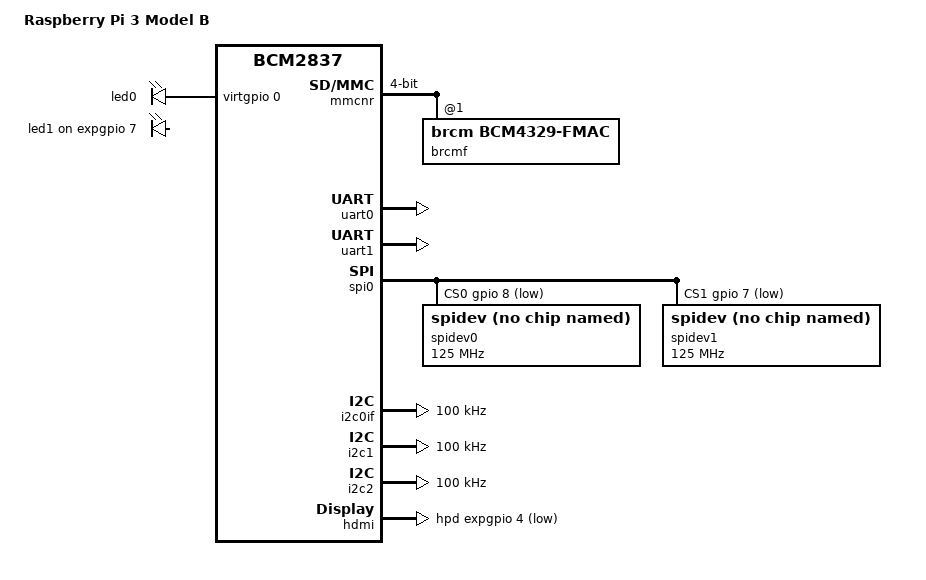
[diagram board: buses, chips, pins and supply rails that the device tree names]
/dts-v1/;

/*
 * Top-level DTS for Raspberry Pi 3 Model B.
 *
 * Read this file as:
 * 1. "bcm2710.dtsi" provides the SoC-level blocks for BCM2710/BCM2837.
 * 2. "bcm2709-rpi.dtsi" adds Raspberry Pi platform glue shared by this family.
 * 3. The remaining includes add board-specific peripherals that Raspberry Pi
 *    splits into reusable fragments, such as Ethernet over USB, CSI lane
 *    wiring, the I2C0 mux setup, and Bluetooth.
 *
 * For a custom board, this is the file you normally copy and rename first,
 * because it is the final board description that ties the shared pieces
 * together. The included .dtsi files are usually kept as reference, then you
 * either reuse them unchanged or inline only the parts that differ on your PCB.
 */
#include "bcm2710.dtsi"
#include "bcm2709-rpi.dtsi"
#include "bcm283x-rpi-smsc9514.dtsi"
#include "bcm283x-rpi-csi1-2lane.dtsi"
#include "bcm283x-rpi-i2c0mux_0_44.dtsi"
#include "bcm271x-rpi-bt.dtsi"

/ {
	/* Match strings used by the kernel driver model and userspace. */
	compatible = "raspberrypi,3-model-b", "brcm,bcm2837";
	model = "Raspberry Pi 3 Model B";

	chosen {
		/*
		 * Kernel command line defaults injected by the board DTS.
		 * On a custom board, keep this section minimal and move policy-heavy
		 * bootargs to the bootloader or Yocto config where possible.
		 */
		bootargs = "coherent_pool=1M 8250.nr_uarts=1 snd_bcm2835.enable_compat_alsa=0 snd_bcm2835.enable_hdmi=1";
	};

	aliases {
		/*
		 * Stable logical names used by Linux and userspace.
		 * Changing these changes which UART appears as serial0/serial1.
		 */
		serial0 = &uart1;
		serial1 = &uart0;
		mmc1 = &mmcnr;
	};
};

&gpio {
	/*
	 * Taken from rpi_SCH_3b_1p2_reduced.pdf and
	 * the official GPU firmware DT blob.
	 *
	 * Legend:
	 * "NC" = not connected (no rail from the SoC)
	 * "FOO" = GPIO line named "FOO" on the schematic
	 * "FOO_N" = GPIO line named "FOO" on schematic, active low
	 */
	gpio-line-names = "ID_SDA",
			  "ID_SCL",
			  "SDA1",
			  "SCL1",
			  "GPIO_GCLK",
			  "GPIO5",
			  "GPIO6",
			  "SPI_CE1_N",
			  "SPI_CE0_N",
			  "SPI_MISO",
			  "SPI_MOSI",
			  "SPI_SCLK",
			  "GPIO12",
			  "GPIO13",
			  /* Serial port */
			  "TXD1",
			  "RXD1",
			  "GPIO16",
			  "GPIO17",
			  "GPIO18",
			  "GPIO19",
			  "GPIO20",
			  "GPIO21",
			  "GPIO22",
			  "GPIO23",
			  "GPIO24",
			  "GPIO25",
			  "GPIO26",
			  "GPIO27",
			  "NC", /* GPIO 28 */
			  "LAN_RUN_BOOT",
			  /* Used by BT module */
			  "CTS0",
			  "RTS0",
			  "TXD0",
			  "RXD0",
			  /* Used by Wifi */
			  "SD1_CLK",
			  "SD1_CMD",
			  "SD1_DATA0",
			  "SD1_DATA1",
			  "SD1_DATA2",
			  "SD1_DATA3",
			  "PWM0_OUT",
			  "PWM1_OUT",
			  "ETH_CLK",
			  "WIFI_CLK",
			  "SDA0",
			  "SCL0",
			  "SMPS_SCL",
			  "SMPS_SDA",
			  /* Used by SD Card */
			  "SD_CLK_R",
			  "SD_CMD_R",
			  "SD_DATA0_R",
			  "SD_DATA1_R",
			  "SD_DATA2_R",
			  "SD_DATA3_R";

	/* Header SPI0 pins: GPIO9/10/11 => MISO/MOSI/SCLK. */
	spi0_pins: spi0_pins {
		brcm,pins = <9 10 11>;
		brcm,function = <4>; /* alt0 */
	};

	/* Header chip-select pins for SPI0 CE0/CE1. */
	spi0_cs_pins: spi0_cs_pins {
		brcm,pins = <8 7>;
		brcm,function = <1>; /* output */
	};

	/* I2C0 is usually reserved for HAT ID EEPROM or internal use. */
	i2c0_pins: i2c0 {
		brcm,pins = <0 1>;
		brcm,function = <4>;
	};

	/* I2C1 is the main 40-pin header I2C bus on Raspberry Pi boards. */
	i2c1_pins: i2c1 {
		brcm,pins = <2 3>;
		brcm,function = <4>;
	};

	/* PCM/I2S audio pins, often repurposed by custom boards. */
	i2s_pins: i2s {
		brcm,pins = <18 19 20 21>;
		brcm,function = <4>; /* alt0 */
	};

	/* SD1 is wired to the on-board Wi-Fi chip on this board. */
	sdio_pins: sdio_pins {
		brcm,pins =     <34 35 36 37 38 39>;
		brcm,function = <7>; // alt3 = SD1
		brcm,pull =     <0 2 2 2 2 2>;
	};

	/* GPCLK2 is used as a Bluetooth low-power clock source. */
	bt_pins: bt_pins {
		brcm,pins = <43>;
		brcm,function = <4>; /* alt0:GPCLK2 */
		brcm,pull = <0>;
	};

	/* PL011 UART routed to the on-board Bluetooth module. */
	uart0_pins: uart0_pins {
		brcm,pins = <32 33>;
		brcm,function = <7>; /* alt3=UART0 */
		brcm,pull = <0 2>;
	};

	/*
	 * Mini-UART is intentionally left empty here because its default pin mux
	 * comes from shared Raspberry Pi support. This is a useful reminder that
	 * not every node in the board DTS needs to restate all SoC defaults.
	 */
	uart1_pins: uart1_pins {
		brcm,pins;
		brcm,function;
		brcm,pull;
	};

	/* Analog audio uses PWM on GPIO40/41 on Raspberry Pi boards. */
	audio_pins: audio_pins {
		brcm,pins = <40 41>;
		brcm,function = <4>;
	};
};

&mmcnr {
	/* Non-removable SDIO bus feeding the soldered Wi-Fi combo chip. */
	pinctrl-names = "default";
	pinctrl-0 = <&sdio_pins>;
	bus-width = <4>;
	status = "okay";
	#address-cells = <1>;
	#size-cells = <0>;

	brcmf: wifi@1 {
		/* Fullmac Broadcom Wi-Fi function exposed on SDIO function 1. */
		reg = <1>;
		compatible = "brcm,bcm4329-fmac";
	};
};

&soc {
	/*
	 * Virtual GPIO lines are not real SoC pads. The Raspberry Pi firmware
	 * exposes control bits such as camera and power signals through this node.
	 */
	virtgpio: virtgpio {
		compatible = "brcm,bcm2835-virtgpio";
		gpio-controller;
		#gpio-cells = <2>;
		firmware = <&firmware>;
		status = "okay";
	};

};

&firmware {
	/*
	 * GPIO expander backed by VideoCore firmware. Several board-management
	 * signals, including BT/Wi-Fi power enables, live here instead of in the
	 * ARM-visible GPIO block.
	 */
	expgpio: expgpio {
		compatible = "raspberrypi,firmware-gpio";
		gpio-controller;
		#gpio-cells = <2>;
		gpio-line-names = "BT_ON",
				  "WL_ON",
				  "STATUS_LED",
				  "LAN_RUN",
				  "HDMI_HPD_N",
				  "CAM_GPIO0",
				  "CAM_GPIO1",
				  "PWR_LOW_N";
		status = "okay";
	};
};

&uart0 {
	/* UART0 is dedicated to Bluetooth on the stock Pi 3B design. */
	pinctrl-names = "default";
	pinctrl-0 = <&uart0_pins &bt_pins>;
	status = "okay";
};

&uart1 {
	/* Mini-UART is exported as serial0 for the default Linux console path. */
	pinctrl-names = "default";
	pinctrl-0 = <&uart1_pins>;
	status = "okay";
};

&bt {
	/* Override the fragment from bcm271x-rpi-bt.dtsi for this board. */
	max-speed = <921600>;
};

&spi0 {
	/* Default enablement of user-facing SPI devices on the 40-pin header. */
	pinctrl-names = "default";
	pinctrl-0 = <&spi0_pins &spi0_cs_pins>;
	cs-gpios = <&gpio 8 1>, <&gpio 7 1>;

	spidev0: spidev@0{
		/*
		 * Generic userspace spidev endpoints.
		 * Custom boards usually replace these with real peripherals.
		 */
		compatible = "spidev";
		reg = <0>;	/* CE0 */
		#address-cells = <1>;
		#size-cells = <0>;
		spi-max-frequency = <125000000>;
	};

	spidev1: spidev@1{
		compatible = "spidev";
		reg = <1>;	/* CE1 */
		#address-cells = <1>;
		#size-cells = <0>;
		spi-max-frequency = <125000000>;
	};
};

&i2c0if {
	/* Interface side of the I2C0 mux fragment included above. */
	clock-frequency = <100000>;
};

&i2c1 {
	/* Main external I2C bus on the Pi header. */
	pinctrl-names = "default";
	pinctrl-0 = <&i2c1_pins>;
	clock-frequency = <100000>;
};

&i2c2 {
	/* Internal auxiliary bus; often unused on simpler custom boards. */
	clock-frequency = <100000>;
};

&i2s {
	pinctrl-names = "default";
	pinctrl-0 = <&i2s_pins>;
};

&leds {
	act_led: led-act {
		label = "led0";
		linux,default-trigger = "mmc0";
		gpios = <&virtgpio 0 0>;
	};

	pwr_led: led-pwr {
		label = "led1";
		linux,default-trigger = "input";
		gpios = <&expgpio 7 0>;
	};
};

&hdmi {
	hpd-gpios = <&expgpio 4 GPIO_ACTIVE_LOW>;
};

&audio {
	pinctrl-names = "default";
	pinctrl-0 = <&audio_pins>;
};

&cam1_reg {
	gpio = <&expgpio 5 GPIO_ACTIVE_HIGH>;
};

cam0_reg: &cam_dummy_reg {
};

/ {
	__overrides__ {
		act_led_gpio = <&act_led>,"gpios:4";
		act_led_activelow = <&act_led>,"gpios:8";
		act_led_trigger = <&act_led>,"linux,default-trigger";

		pwr_led_gpio = <&pwr_led>,"gpios:4";
		pwr_led_activelow = <&pwr_led>,"gpios:8";
		pwr_led_trigger = <&pwr_led>,"linux,default-trigger";
	};
};
